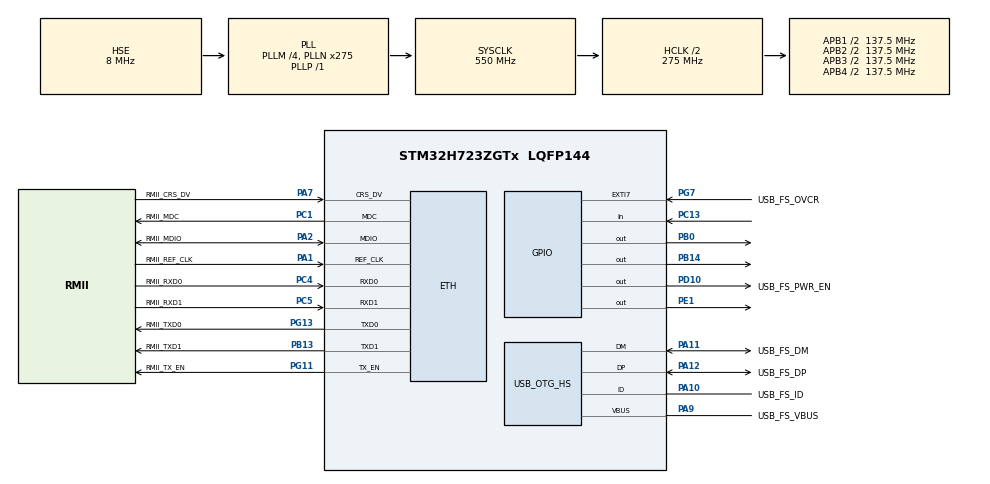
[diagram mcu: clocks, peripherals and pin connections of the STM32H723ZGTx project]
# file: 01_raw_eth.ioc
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CORTEX_M7.AccessPermission_S-Cortex_Memory_Protection_Unit_Region1_Settings_S=MPU_REGION_FULL_ACCESS
CORTEX_M7.AccessPermission_S-Cortex_Memory_Protection_Unit_Region2_Settings_S=MPU_REGION_FULL_ACCESS
CORTEX_M7.BaseAddress_S-Cortex_Memory_Protection_Unit_Region1_Settings_S=0x30000000
CORTEX_M7.BaseAddress_S-Cortex_Memory_Protection_Unit_Region2_Settings_S=0x30000000
CORTEX_M7.CPU_DCache=Enabled
CORTEX_M7.CPU_ICache=Enabled
CORTEX_M7.DisableExec_S-Cortex_Memory_Protection_Unit_Region1_Settings_S=MPU_INSTRUCTION_ACCESS_DISABLE
CORTEX_M7.DisableExec_S-Cortex_Memory_Protection_Unit_Region2_Settings_S=MPU_INSTRUCTION_ACCESS_DISABLE
CORTEX_M7.Enable_S-Cortex_Memory_Protection_Unit_Region1_Settings_S=MPU_REGION_ENABLE
CORTEX_M7.Enable_S-Cortex_Memory_Protection_Unit_Region2_Settings_S=MPU_REGION_ENABLE
CORTEX_M7.IsBufferable_S-Cortex_Memory_Protection_Unit_Region1_Settings_S=MPU_ACCESS_NOT_BUFFERABLE
CORTEX_M7.IsBufferable_S-Cortex_Memory_Protection_Unit_Region2_Settings_S=MPU_ACCESS_BUFFERABLE
CORTEX_M7.IsCacheable_S-Cortex_Memory_Protection_Unit_Region1_Settings_S=MPU_ACCESS_NOT_CACHEABLE
CORTEX_M7.IsCacheable_S-Cortex_Memory_Protection_Unit_Region2_Settings_S=MPU_ACCESS_NOT_CACHEABLE
CORTEX_M7.IsShareable_S-Cortex_Memory_Protection_Unit_Region1_Settings_S=MPU_ACCESS_NOT_SHAREABLE
CORTEX_M7.IsShareable_S-Cortex_Memory_Protection_Unit_Region2_Settings_S=MPU_ACCESS_SHAREABLE
CORTEX_M7.Size_S-Cortex_Memory_Protection_Unit_Region1_Settings_S=MPU_REGION_SIZE_32KB
CORTEX_M7.Size_S-Cortex_Memory_Protection_Unit_Region2_Settings_S=MPU_REGION_SIZE_1KB
CORTEX_M7.TypeExtField_S-Cortex_Memory_Protection_Unit_Region1_Settings_S=MPU_TEX_LEVEL1
CORTEX_M7.TypeExtField_S-Cortex_Memory_Protection_Unit_Region2_Settings_S=MPU_TEX_LEVEL0
CORTEX_M7.default_mode_Activation=1
ETH.MACAddr=02\:00\:00\:11\:22\:33
ETH.MediaInterface=HAL_ETH_RMII_MODE
ETH.RxBufferAddress=0x30000400
ETH.RxBuffLen=1536
ETH.RxDescAddress=0x30000000
ETH.TxDescAddress=0x30000200
Mcu.Family=STM32H7
Mcu.Name=STM32H723ZGTx
Mcu.Package=LQFP144
NUCLEO-H723ZG.BUTTON=1
NUCLEO-H723ZG.LD1=true
NUCLEO-H723ZG.LD2=true
NUCLEO-H723ZG.LD3=true
NUCLEO-H723ZG.VCP=true
NVIC.ETH_IRQn=true\:5\:0\:false\:false\:true\:true\:true\:true
NVIC.EXTI15_10_IRQn=true\:0\:0\:false\:false\:true\:false\:true\:true
NVIC.PriorityGroup=NVIC_PRIORITYGROUP_4
PA1.GPIO_Label=RMII_REF_CLK
PA1.GPIO_Speed=GPIO_SPEED_FREQ_VERY_HIGH
PA1.Mode=RMII
PA1.Signal=ETH_REF_CLK
PA10.GPIO_Label=USB_FS_ID
PA10.Mode=OTG/Dual_Role_Device_FS
PA10.Signal=USB_OTG_HS_ID
PA11.GPIO_Label=USB_FS_DM
PA11.Mode=OTG/Dual_Role_Device_FS
PA11.Signal=USB_OTG_HS_DM
PA12.GPIO_Label=USB_FS_DP
PA12.Mode=OTG/Dual_Role_Device_FS
PA12.Signal=USB_OTG_HS_DP
PA13(JTMS/SWDIO).GPIO_Label=SWDIO
PA13(JTMS/SWDIO).Mode=Trace_Asynchronous_SW
PA13(JTMS/SWDIO).Signal=DEBUG_JTMS-SWDIO
PA14(JTCK/SWCLK).GPIO_Label=SWCLK
PA14(JTCK/SWCLK).Mode=Trace_Asynchronous_SW
PA14(JTCK/SWCLK).Signal=DEBUG_JTCK-SWCLK
PA2.GPIO_Label=RMII_MDIO
PA2.GPIO_Speed=GPIO_SPEED_FREQ_VERY_HIGH
PA2.Mode=RMII
PA2.Signal=ETH_MDIO
PA7.GPIO_Label=RMII_CRS_DV
PA7.GPIO_Speed=GPIO_SPEED_FREQ_VERY_HIGH
PA7.Mode=RMII
PA7.Signal=ETH_CRS_DV
PA9.GPIO_Label=USB_FS_VBUS
PA9.Mode=Activate_VBUS_FS
PA9.Signal=USB_OTG_HS_VBUS
PB0.Signal=GPIO_Output
PB13.GPIO_Label=RMII_TXD1
PB13.GPIO_Speed=GPIO_SPEED_FREQ_VERY_HIGH
PB13.Mode=RMII
PB13.Signal=ETH_TXD1
PB14.Signal=GPIO_Output
PB3(JTDO/TRACESWO).GPIO_Label=SWO
PB3(JTDO/TRACESWO).Mode=Trace_Asynchronous_SW
PB3(JTDO/TRACESWO).Signal=DEBUG_JTDO-SWO
PC1.GPIO_Label=RMII_MDC
PC1.GPIO_Speed=GPIO_SPEED_FREQ_VERY_HIGH
PC1.Mode=RMII
PC1.Signal=ETH_MDC
PC13.Signal=GPIO_Input
PC14-OSC32_IN.Mode=LSE-External-Oscillator
PC14-OSC32_IN.Signal=RCC_OSC32_IN
PC15-OSC32_OUT.Mode=LSE-External-Oscillator
PC15-OSC32_OUT.Signal=RCC_OSC32_OUT
PC4.GPIO_Label=RMII_RXD0
PC4.GPIO_Speed=GPIO_SPEED_FREQ_VERY_HIGH
PC4.Mode=RMII
PC4.Signal=ETH_RXD0
PC5.GPIO_Label=RMII_RXD1
PC5.GPIO_Speed=GPIO_SPEED_FREQ_VERY_HIGH
PC5.Mode=RMII
PC5.Signal=ETH_RXD1
PD10.GPIO_Label=USB_FS_PWR_EN
PD10.Signal=GPIO_Output
PD8.Signal=USART3_TX
PD9.Signal=USART3_RX
PE1.Signal=GPIO_Output
PG11.GPIO_Label=RMII_TX_EN
PG11.GPIO_Speed=GPIO_SPEED_FREQ_VERY_HIGH
PG11.Mode=RMII
PG11.Signal=ETH_TX_EN
PG13.GPIO_Label=RMII_TXD0
PG13.GPIO_Speed=GPIO_SPEED_FREQ_VERY_HIGH
PG13.Mode=RMII
PG13.Signal=ETH_TXD0
PG7.GPIO_Label=USB_FS_OVCR
PG7.Signal=GPXTI7
PH0-OSC_IN.GPIO_Label=MCO
PH0-OSC_IN.Mode=HSE-External-Clock-Source
PH0-OSC_IN.Signal=RCC_OSC_IN
PH1-OSC_OUT.Signal=RCC_OSC_OUT
ProjectManager.HeapSize=0x1000
ProjectManager.StackSize=0x1000
ProjectManager.TargetToolchain=STM32CubeIDE
RCC.ADCFreq_Value=76000000
RCC.APB1Freq_Value=137500000
RCC.APB2Freq_Value=137500000
RCC.APB3Freq_Value=137500000
RCC.APB4Freq_Value=137500000
RCC.CortexFreq_Value=550000000
RCC.D1PPRE=RCC_APB3_DIV2
RCC.D2PPRE1=RCC_APB1_DIV2
RCC.D2PPRE2=RCC_APB2_DIV2
RCC.D3PPRE=RCC_APB4_DIV2
RCC.DIVM1=4
RCC.DIVM2=1
RCC.DIVN1=275
RCC.DIVN2=19
RCC.DIVP1=1
RCC.DIVQ1=4
RCC.HCLKFreq_Value=275000000
RCC.HPRE=RCC_HCLK_DIV2
RCC.HSE_VALUE=8000000
RCC.PLLFRACN=0
RCC.PLLSourceVirtual=RCC_PLLSOURCE_HSE
RCC.SYSCLKFreq_VALUE=550000000
RCC.SYSCLKSource=RCC_SYSCLKSOURCE_PLLCLK
RCC.USBCLockSelection=RCC_USBCLKSOURCE_HSI48
RCC.USBFreq_Value=48000000
USB_OTG_HS.VirtualMode-OTG/Dual_Role_Device_FS=Device_Role_Device_FS
VP_NUCLEO-H723ZG_VS_BSP_COMMON.Mode=COMMON
board=NUCLEO-H723ZG

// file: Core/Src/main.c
/* USER CODE BEGIN Header */
/**
  ******************************************************************************
  * @file           : main.c
  * @brief          : Main program body
  ******************************************************************************
  * @attention
  *
  * Copyright (c) 2026 STMicroelectronics.
  * All rights reserved.
  *
  * This software is licensed under terms that can be found in the LICENSE file
  * in the root directory of this software component.
  * If no LICENSE file comes with this software, it is provided AS-IS.
  *
  ******************************************************************************
  */
/* USER CODE END Header */
#include "main.h"
#include "string.h"

/* USER CODE BEGIN Includes */
#include <stdio.h>
#include <string.h>
/* USER CODE END Includes */

/* USER CODE BEGIN PD */
/* ---- 핸즈온 1 설정 ------------------------------------------------------------------------ */
#define RX_BUF_SIZE        1536U                    /* = CubeMX ETH 'Rx Buffers Length'          */
#define RX_POOL_CNT        (ETH_RX_DESC_CNT + 4U)   /* 링에 달린 4개 + 앱이 잡고 있는 여유 4개     */
#define RAW_ETHERTYPE      0x88B5U                  /* IEEE 802 로컬 실험용 EtherType             */
#define TX_PERIOD_MS       1000U
#define LINK_POLL_MS       500U
/* LAN8742A 레지스터 (IEEE 802.3 Clause 22 + 벤더) */
#define PHY_BCR            0U
#define PHY_BSR            1U
#define PHY_ID1            2U
#define PHY_ID2            3U
#define PHY_SMR            18U                      /* Special Modes: PHYAD[4:0], MODE[7:5]       */
#define PHY_SCSR           31U                      /* Special Control/Status: bit4:2 속도·듀플렉스 */
#define BSR_LINK           (1U << 2)
#define BSR_AN_DONE        (1U << 5)
/* USER CODE END PD */

#if defined ( __ICCARM__ ) /*!< IAR Compiler */
#pragma location=0x30000000
ETH_DMADescTypeDef  DMARxDscrTab[ETH_RX_DESC_CNT]; /* Ethernet Rx DMA Descriptors */
#pragma location=0x30000200
ETH_DMADescTypeDef  DMATxDscrTab[ETH_TX_DESC_CNT]; /* Ethernet Tx DMA Descriptors */

#elif defined ( __CC_ARM )  /* MDK ARM Compiler */

__attribute__((at(0x30000000))) ETH_DMADescTypeDef  DMARxDscrTab[ETH_RX_DESC_CNT]; /* Ethernet Rx DMA Descriptors */
__attribute__((at(0x30000200))) ETH_DMADescTypeDef  DMATxDscrTab[ETH_TX_DESC_CNT]; /* Ethernet Tx DMA Descriptors */

#elif defined ( __GNUC__ ) /* GNU Compiler */

ETH_DMADescTypeDef DMARxDscrTab[ETH_RX_DESC_CNT] __attribute__((section(".RxDescripSection"))); /* Ethernet Rx DMA Descriptors */
ETH_DMADescTypeDef DMATxDscrTab[ETH_TX_DESC_CNT] __attribute__((section(".TxDescripSection")));   /* Ethernet Tx DMA Descriptors */
#endif

ETH_TxPacketConfig TxConfig;

COM_InitTypeDef BspCOMInit;

ETH_HandleTypeDef heth;

PCD_HandleTypeDef hpcd_USB_OTG_HS;

/* USER CODE BEGIN PV */
/* 수신 버퍼 풀: D2 SRAM 0x3000 0400~ (링커 .RxArraySection, MPU Region1 = Normal non-cacheable) */
static uint8_t RxPool[RX_POOL_CNT][RX_BUF_SIZE] __attribute__((section(".RxArraySection"), aligned(32)));
static volatile uint8_t RxPoolUsed[RX_POOL_CNT];

/* 송신 프레임: AXI SRAM(D1, 캐시 가능) — 송신 직전 SCB_CleanDCache_by_Addr가 필요한 예 */
static uint8_t frame[64] __attribute__((aligned(32)));

static volatile uint8_t  rx_flag;       /* RxCpltCallback → 메인 루프 */
static volatile uint8_t  tx_busy;       /* Transmit_IT ~ TxFreeCallback */
static volatile uint32_t eth_err;       /* ErrorCallback이 세움 */
static uint32_t RxLastLen;
static uint32_t phy_addr = 0xFFU;       /* MDIO 스캔으로 찾은 주소 (보드 스트랩 = 0) */
static uint8_t  link_up;
static uint32_t hello_cnt;
/* USER CODE END PV */

void SystemClock_Config(void);
static void MPU_Config(void);
static void MX_GPIO_Init(void);
static void MX_ETH_Init(void);
static void MX_USB_OTG_HS_PCD_Init(void);

/* USER CODE BEGIN 0 */
/* ---------------------------------------------------------------------------------------------
 * Step 3 — MDIO로 PHY 찾기: 주소 0~31을 읽어 ID1이 0xFFFF/0x0000이 아닌 곳이 PHY
 * ------------------------------------------------------------------------------------------- */
static void phy_scan(void)
{
  uint32_t id1, id2, smr;
  for (uint32_t a = 0; a < 32U; a++)
  {
    if ((HAL_ETH_ReadPHYRegister(&heth, a, PHY_ID1, &id1) == HAL_OK) && (id1 != 0xFFFFU) && (id1 != 0x0000U))
    {
      HAL_ETH_ReadPHYRegister(&heth, a, PHY_ID2, &id2);
      HAL_ETH_ReadPHYRegister(&heth, a, PHY_SMR, &smr);
      printf("PHY @%lu  ID1=0x%04lX  ID2=0x%04lX  (Special Modes: MODE=%lu PHYAD=%lu)\r\n",
             a, id1, id2, (smr >> 5) & 7U, smr & 0x1FU);
      if (phy_addr == 0xFFU) { phy_addr = a; }
    }
  }
  if (phy_addr == 0xFFU)
  {
    printf("!! PHY not found (all 0xFFFF): check SB72(MDIO) / SB64(MDC) / PHY power(JP5=3V3)\r\n");
  }
}

/* BSR의 Link Status는 latch-low → 두 번 읽어야 현재 값 */
static uint32_t phy_read_bsr(void)
{
  uint32_t bsr = 0;
  HAL_ETH_ReadPHYRegister(&heth, phy_addr, PHY_BSR, &bsr);
  HAL_ETH_ReadPHYRegister(&heth, phy_addr, PHY_BSR, &bsr);
  return bsr;
}

/* 링크 업이면 PHYSCSR로 협상 결과를 읽어 MAC(ETH_MACCR FES/DM)에 반영하고 DMA 시작 */
static void link_update(void)
{
  if (phy_addr == 0xFFU) { return; }
  uint32_t bsr = phy_read_bsr();
  uint8_t up = ((bsr & BSR_LINK) != 0U) && ((bsr & BSR_AN_DONE) != 0U);

  if (up && !link_up)
  {
    uint32_t scsr = 0;
    ETH_MACConfigTypeDef mc;
    HAL_ETH_ReadPHYRegister(&heth, phy_addr, PHY_SCSR, &scsr);
    uint32_t sp = (scsr >> 2) & 7U;            /* 001 10H, 101 10F, 010 100H, 110 100F */
    HAL_ETH_GetMACConfig(&heth, &mc);
    mc.Speed      = (sp & 2U) ? ETH_SPEED_100M : ETH_SPEED_10M;
    mc.DuplexMode = (sp & 4U) ? ETH_FULLDUPLEX_MODE : ETH_HALFDUPLEX_MODE;
    HAL_ETH_SetMACConfig(&heth, &mc);
    HAL_ETH_Start_IT(&heth);                   /* RX 디스크립터 OWN=1, 인터럽트 허용, TE/RE=1 */
    link_up = 1;
    printf("Link UP   %s %s-duplex\r\n", (sp & 2U) ? "100M" : "10M", (sp & 4U) ? "Full" : "Half");
  }
  else if (!up && link_up)
  {
    HAL_ETH_Stop_IT(&heth);
    link_up = 0;
    printf("Link DOWN\r\n");
  }
}

/* ---------------------------------------------------------------------------------------------
 * Step 4 — Raw 프레임 송신: DST=브로드캐스트, SRC=보드 MAC, Type=0x88B5, 데이터 "HELLO n"
 * ------------------------------------------------------------------------------------------- */
static void send_hello(void)
{
  ETH_BufferTypeDef tb;
  if (!link_up || tx_busy) { return; }

  memset(frame, 0, sizeof(frame));
  memset(frame, 0xFF, 6);                               /* DST = FF:FF:FF:FF:FF:FF        */
  memcpy(frame + 6, heth.Init.MACAddr, 6);              /* SRC = 02:00:00:11:22:33        */
  frame[12] = (uint8_t)(RAW_ETHERTYPE >> 8);
  frame[13] = (uint8_t)(RAW_ETHERTYPE & 0xFFU);
  snprintf((char *)frame + 14, 46, "HELLO %lu", hello_cnt++);

  /* frame[]은 캐시 가능 메모리 → DMA가 읽기 전에 캐시 내용을 SRAM으로 (32 B 정렬·64 B) */
  SCB_CleanDCache_by_Addr((uint32_t *)frame, sizeof(frame));

  memset(&tb, 0, sizeof(tb));
  tb.buffer = frame;
  tb.len    = sizeof(frame);
  tb.next   = NULL;
  TxConfig.Length   = sizeof(frame);
  TxConfig.TxBuffer = &tb;
  TxConfig.pData    = frame;
  tx_busy = 1;
  if (HAL_ETH_Transmit_IT(&heth, &TxConfig) != HAL_OK)  /* TDES 작성 → OWN=1 → 테일 갱신 */
  {
    tx_busy = 0;
    printf("Transmit_IT failed (err=0x%lx)\r\n", HAL_ETH_GetError(&heth));
  }
}

static void hexdump(const uint8_t *p, uint32_t n)
{
  if (n > 48U) { n = 48U; }
  for (uint32_t i = 0; i < n; i++)
  {
    printf("%02X%s", p[i], ((i & 15U) == 15U) ? "\r\n" : " ");
  }
  printf("\r\n");
}

static void RxBuf_Free(void *p)
{
  for (uint32_t i = 0; i < RX_POOL_CNT; i++)
  {
    if (p == RxPool[i]) { RxPoolUsed[i] = 0; return; }
  }
}

/* ---- HAL ETH 콜백 (수신 버퍼 공급 · 조각 연결 · 완료 알림) -------------------------------- */
void HAL_ETH_RxAllocateCallback(uint8_t **buff)
{
  for (uint32_t i = 0; i < RX_POOL_CNT; i++)
  {
    if (!RxPoolUsed[i]) { RxPoolUsed[i] = 1; *buff = RxPool[i]; return; }
  }
  *buff = NULL;                               /* 풀 고갈 → 이 RDES는 비어 있게 됨(RBU 원인) */
}

void HAL_ETH_RxLinkCallback(void **pStart, void **pEnd, uint8_t *buff, uint16_t Length)
{
  if (*pStart == NULL) { *pStart = buff; }    /* 1536 B 버퍼 하나 = 프레임 하나 (1518 B 이하) */
  *pEnd = buff;
  RxLastLen = Length;
}

void HAL_ETH_RxCpltCallback(ETH_HandleTypeDef *h)  { (void)h; rx_flag = 1; }
void HAL_ETH_TxCpltCallback(ETH_HandleTypeDef *h)  { HAL_ETH_ReleaseTxPacket(h); }   /* TDES 회수 */
void HAL_ETH_TxFreeCallback(uint32_t *buff)        { (void)buff; tx_busy = 0; }
void HAL_ETH_ErrorCallback(ETH_HandleTypeDef *h)   { eth_err = HAL_ETH_GetDMAError(h); }
/* USER CODE END 0 */

int main(void)
{

  /* MPU Configuration--------------------------------------------------------*/
  MPU_Config();

  /* Enable the CPU Cache */

  /* Enable I-Cache---------------------------------------------------------*/
  SCB_EnableICache();

  /* Enable D-Cache---------------------------------------------------------*/
  SCB_EnableDCache();

  /* MCU Configuration--------------------------------------------------------*/

  /* Reset of all peripherals, Initializes the Flash interface and the Systick. */
  HAL_Init();

  /* Configure the system clock */
  SystemClock_Config();

  /* Initialize all configured peripherals */
  MX_GPIO_Init();
  MX_ETH_Init();
  MX_USB_OTG_HS_PCD_Init();

  /* Initialize leds */
  BSP_LED_Init(LED_GREEN);
  BSP_LED_Init(LED_YELLOW);
  BSP_LED_Init(LED_RED);

  /* Initialize USER push-button, will be used to trigger an interrupt each time it's pressed.*/
  BSP_PB_Init(BUTTON_USER, BUTTON_MODE_EXTI);

  /* Initialize COM1 port (115200, 8 bits (7-bit data + 1 stop bit), no parity */
  BspCOMInit.BaudRate   = 115200;
  BspCOMInit.WordLength = COM_WORDLENGTH_8B;
  BspCOMInit.StopBits   = COM_STOPBITS_1;
  BspCOMInit.Parity     = COM_PARITY_NONE;
  BspCOMInit.HwFlowCtl  = COM_HWCONTROL_NONE;
  if (BSP_COM_Init(COM1, &BspCOMInit) != BSP_ERROR_NONE)
  {
    Error_Handler();
  }

  /* Infinite loop */
  /* USER CODE BEGIN WHILE */
  printf("\r\n=== Hands-on 1: raw Ethernet (no lwIP) ===\r\n");
  printf("DMARxDscrTab @0x%08lX  DMATxDscrTab @0x%08lX  RxPool @0x%08lX\r\n",
         (uint32_t)DMARxDscrTab, (uint32_t)DMATxDscrTab, (uint32_t)RxPool);
  phy_scan();

  uint32_t t_tx = HAL_GetTick(), t_link = 0;
  while (1)
  {
    if ((HAL_GetTick() - t_link) >= LINK_POLL_MS) { t_link = HAL_GetTick(); link_update(); }

    if ((HAL_GetTick() - t_tx) >= TX_PERIOD_MS)
    {
      t_tx = HAL_GetTick();
      send_hello();
      BSP_LED_Toggle(LED_GREEN);                    /* LD1 점멸 = 펌웨어 동작 중 */
    }

    if (rx_flag)
    {
      void *pkt = NULL;
      rx_flag = 0;
      while (HAL_ETH_ReadData(&heth, &pkt) == HAL_OK)  /* OWN=0 RDES → 앱 버퍼, 빈 RDES 재충전 */
      {
        const uint8_t *b = (const uint8_t *)pkt;
        printf("RX %lu B  type=0x%02X%02X  from %02X:%02X:%02X:%02X:%02X:%02X\r\n", RxLastLen,
               b[12], b[13], b[6], b[7], b[8], b[9], b[10], b[11]);
        hexdump(b, RxLastLen);
        RxBuf_Free(pkt);
      }
    }

    if (eth_err)
    {
      printf("ETH DMA error: DMACSR snapshot=0x%08lX (RBU/FBE?)\r\n", eth_err);
      eth_err = 0;
    }
    /* USER CODE END WHILE */

  }
}

void SystemClock_Config(void)
{
  RCC_OscInitTypeDef RCC_OscInitStruct = {0};
  RCC_ClkInitTypeDef RCC_ClkInitStruct = {0};

  /** Supply configuration update enable
  */
  HAL_PWREx_ConfigSupply(PWR_LDO_SUPPLY);

  /** Configure the main internal regulator output voltage
  */
  __HAL_PWR_VOLTAGESCALING_CONFIG(PWR_REGULATOR_VOLTAGE_SCALE0);

  while(!__HAL_PWR_GET_FLAG(PWR_FLAG_VOSRDY)) {}

  /** Initializes the RCC Oscillators according to the specified parameters
  * in the RCC_OscInitTypeDef structure.
  */
  RCC_OscInitStruct.OscillatorType = RCC_OSCILLATORTYPE_HSI48|RCC_OSCILLATORTYPE_HSE;
  RCC_OscInitStruct.HSEState = RCC_HSE_BYPASS;
  RCC_OscInitStruct.HSI48State = RCC_HSI48_ON;
  RCC_OscInitStruct.PLL.PLLState = RCC_PLL_ON;
  RCC_OscInitStruct.PLL.PLLSource = RCC_PLLSOURCE_HSE;
  RCC_OscInitStruct.PLL.PLLM = 4;
  RCC_OscInitStruct.PLL.PLLN = 275;
  RCC_OscInitStruct.PLL.PLLP = 1;
  RCC_OscInitStruct.PLL.PLLQ = 4;
  RCC_OscInitStruct.PLL.PLLR = 2;
  RCC_OscInitStruct.PLL.PLLRGE = RCC_PLL1VCIRANGE_1;
  RCC_OscInitStruct.PLL.PLLVCOSEL = RCC_PLL1VCOWIDE;
  RCC_OscInitStruct.PLL.PLLFRACN = 0;
  if (HAL_RCC_OscConfig(&RCC_OscInitStruct) != HAL_OK)
  {
    Error_Handler();
  }

  /** Initializes the CPU, AHB and APB buses clocks
  */
  RCC_ClkInitStruct.ClockType = RCC_CLOCKTYPE_HCLK|RCC_CLOCKTYPE_SYSCLK
                              |RCC_CLOCKTYPE_PCLK1|RCC_CLOCKTYPE_PCLK2
                              |RCC_CLOCKTYPE_D3PCLK1|RCC_CLOCKTYPE_D1PCLK1;
  RCC_ClkInitStruct.SYSCLKSource = RCC_SYSCLKSOURCE_PLLCLK;
  RCC_ClkInitStruct.SYSCLKDivider = RCC_SYSCLK_DIV1;
  RCC_ClkInitStruct.AHBCLKDivider = RCC_HCLK_DIV2;
  RCC_ClkInitStruct.APB3CLKDivider = RCC_APB3_DIV2;
  RCC_ClkInitStruct.APB1CLKDivider = RCC_APB1_DIV2;
  RCC_ClkInitStruct.APB2CLKDivider = RCC_APB2_DIV2;
  RCC_ClkInitStruct.APB4CLKDivider = RCC_APB4_DIV2;

  if (HAL_RCC_ClockConfig(&RCC_ClkInitStruct, FLASH_LATENCY_3) != HAL_OK)
  {
    Error_Handler();
  }
}

static void MX_ETH_Init(void)
{

   static uint8_t MACAddr[6];

  heth.Instance = ETH;
  MACAddr[0] = 0x02;
  MACAddr[1] = 0x00;
  MACAddr[2] = 0x00;
  MACAddr[3] = 0x11;
  MACAddr[4] = 0x22;
  MACAddr[5] = 0x33;
  heth.Init.MACAddr = &MACAddr[0];
  heth.Init.MediaInterface = HAL_ETH_RMII_MODE;
  heth.Init.TxDesc = DMATxDscrTab;
  heth.Init.RxDesc = DMARxDscrTab;
  heth.Init.RxBuffLen = 1536;

  if (HAL_ETH_Init(&heth) != HAL_OK)
  {
    Error_Handler();
  }

  memset(&TxConfig, 0 , sizeof(ETH_TxPacketConfig));
  TxConfig.Attributes = ETH_TX_PACKETS_FEATURES_CSUM | ETH_TX_PACKETS_FEATURES_CRCPAD;
  TxConfig.ChecksumCtrl = ETH_CHECKSUM_IPHDR_PAYLOAD_INSERT_PHDR_CALC;
  TxConfig.CRCPadCtrl = ETH_CRC_PAD_INSERT;

}

static void MX_USB_OTG_HS_PCD_Init(void)
{

  hpcd_USB_OTG_HS.Instance = USB_OTG_HS;
  hpcd_USB_OTG_HS.Init.dev_endpoints = 9;
  hpcd_USB_OTG_HS.Init.speed = PCD_SPEED_FULL;
  hpcd_USB_OTG_HS.Init.dma_enable = DISABLE;
  hpcd_USB_OTG_HS.Init.phy_itface = USB_OTG_EMBEDDED_PHY;
  hpcd_USB_OTG_HS.Init.Sof_enable = DISABLE;
  hpcd_USB_OTG_HS.Init.low_power_enable = DISABLE;
  hpcd_USB_OTG_HS.Init.lpm_enable = DISABLE;
  hpcd_USB_OTG_HS.Init.vbus_sensing_enable = ENABLE;
  hpcd_USB_OTG_HS.Init.use_dedicated_ep1 = DISABLE;
  hpcd_USB_OTG_HS.Init.use_external_vbus = DISABLE;
  if (HAL_PCD_Init(&hpcd_USB_OTG_HS) != HAL_OK)
  {
    Error_Handler();
  }

}

static void MX_GPIO_Init(void)
{
  GPIO_InitTypeDef GPIO_InitStruct = {0};

  /* GPIO Ports Clock Enable */
  __HAL_RCC_GPIOC_CLK_ENABLE();
  __HAL_RCC_GPIOH_CLK_ENABLE();
  __HAL_RCC_GPIOA_CLK_ENABLE();
  __HAL_RCC_GPIOB_CLK_ENABLE();
  __HAL_RCC_GPIOD_CLK_ENABLE();
  __HAL_RCC_GPIOG_CLK_ENABLE();

  /*Configure GPIO pin Output Level */
  HAL_GPIO_WritePin(USB_FS_PWR_EN_GPIO_Port, USB_FS_PWR_EN_Pin, GPIO_PIN_RESET);

  /*Configure GPIO pin : USB_FS_PWR_EN_Pin */
  GPIO_InitStruct.Pin = USB_FS_PWR_EN_Pin;
  GPIO_InitStruct.Mode = GPIO_MODE_OUTPUT_PP;
  GPIO_InitStruct.Pull = GPIO_NOPULL;
  GPIO_InitStruct.Speed = GPIO_SPEED_FREQ_LOW;
  HAL_GPIO_Init(USB_FS_PWR_EN_GPIO_Port, &GPIO_InitStruct);

  /*Configure GPIO pin : USB_FS_OVCR_Pin */
  GPIO_InitStruct.Pin = USB_FS_OVCR_Pin;
  GPIO_InitStruct.Mode = GPIO_MODE_IT_RISING;
  GPIO_InitStruct.Pull = GPIO_NOPULL;
  HAL_GPIO_Init(USB_FS_OVCR_GPIO_Port, &GPIO_InitStruct);

}

 /* MPU Configuration */

void MPU_Config(void)
{
  MPU_Region_InitTypeDef MPU_InitStruct = {0};

  /* Disables the MPU */
  HAL_MPU_Disable();

  /** Initializes and configures the Region and the memory to be protected
  */
  MPU_InitStruct.Enable = MPU_REGION_ENABLE;
  MPU_InitStruct.Number = MPU_REGION_NUMBER0;
  MPU_InitStruct.BaseAddress = 0x0;
  MPU_InitStruct.Size = MPU_REGION_SIZE_4GB;
  MPU_InitStruct.SubRegionDisable = 0x87;
  MPU_InitStruct.TypeExtField = MPU_TEX_LEVEL0;
  MPU_InitStruct.AccessPermission = MPU_REGION_NO_ACCESS;
  MPU_InitStruct.DisableExec = MPU_INSTRUCTION_ACCESS_DISABLE;
  MPU_InitStruct.IsShareable = MPU_ACCESS_SHAREABLE;
  MPU_InitStruct.IsCacheable = MPU_ACCESS_NOT_CACHEABLE;
  MPU_InitStruct.IsBufferable = MPU_ACCESS_NOT_BUFFERABLE;

  HAL_MPU_ConfigRegion(&MPU_InitStruct);

  /** Initializes and configures the Region and the memory to be protected
  */
  MPU_InitStruct.Number = MPU_REGION_NUMBER1;
  MPU_InitStruct.BaseAddress = 0x30000000;
  MPU_InitStruct.Size = MPU_REGION_SIZE_32KB;
  MPU_InitStruct.SubRegionDisable = 0x0;
  MPU_InitStruct.TypeExtField = MPU_TEX_LEVEL1;
  MPU_InitStruct.AccessPermission = MPU_REGION_FULL_ACCESS;
  MPU_InitStruct.IsShareable = MPU_ACCESS_NOT_SHAREABLE;

  HAL_MPU_ConfigRegion(&MPU_InitStruct);

  /** Initializes and configures the Region and the memory to be protected
  */
  MPU_InitStruct.Number = MPU_REGION_NUMBER2;
  MPU_InitStruct.Size = MPU_REGION_SIZE_1KB;
  MPU_InitStruct.TypeExtField = MPU_TEX_LEVEL0;
  MPU_InitStruct.IsShareable = MPU_ACCESS_SHAREABLE;
  MPU_InitStruct.IsBufferable = MPU_ACCESS_BUFFERABLE;

  HAL_MPU_ConfigRegion(&MPU_InitStruct);
  /* Enables the MPU */
  HAL_MPU_Enable(MPU_PRIVILEGED_DEFAULT);

}

void Error_Handler(void)
{
  __disable_irq();
  while (1)
  {
  }
}
